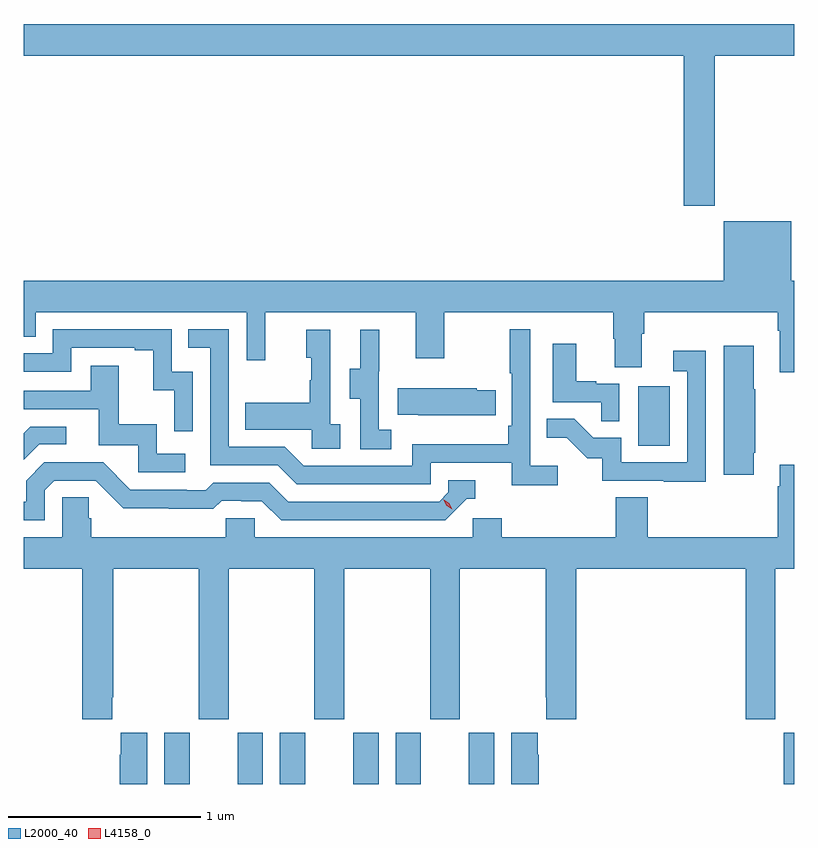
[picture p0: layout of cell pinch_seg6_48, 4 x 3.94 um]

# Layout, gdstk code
import gdstk
lib = gdstk.Library(unit=1e-6, precision=1e-09)
def R(c, l, rs):  # rectangles x0, y0, x1, y1
    for r in rs: c.add(gdstk.rectangle(r[:2], r[2:], *l))
def P(c, l, *ps):  # polygons
    for p in ps: c.add(gdstk.Polygon(p, *l))
L2000_40 = (2000, 40)
L4158_0 = (4158, 0)

pinch_seg6_48 = lib.new_cell('pinch_seg6_48')
R(pinch_seg6_48, L2000_40, [(987.854,942.224,987.985,942.49), (988.235,942.224,988.366,942.49), (988.454,942.224,988.585,942.49), (988.835,942.224,988.966,942.49), (989.054,942.224,989.185,942.49), (989.435,942.224,989.566,942.49), (991.07,942.224,991.124,942.489), (990.314,943.98,990.478,944.287)])
P(pinch_seg6_48, L2000_40, [(990.711,946.004),(991.124,946.004),(991.124,946.168),(987.124,946.168),(987.124,946.004),(990.551,946.004),(990.551,945.225),(990.711,945.225)],
  [(991.124,944.836),(991.108,944.836),(991.108,945.145),(990.758,945.145),(990.758,944.836),(987.124,944.836),(987.124,944.545),(987.186,944.545),(987.186,944.672),(988.281,944.672),(988.281,944.424),(988.379,944.424),(988.379,944.672),(989.159,944.672),(989.159,944.433),(989.307,944.433),(989.307,944.672),(990.184,944.672),(990.184,944.535),(990.191,944.535),(990.191,944.386),(990.331,944.386),(990.331,944.56),(990.344,944.56),(990.344,944.672),(991.037,944.672),(991.037,944.576),(991.049,944.576),(991.049,944.361),(991.124,944.361)],
  [(989.896,943.876),(989.754,943.876),(989.754,944.584),(989.646,944.584),(989.646,944.356),(989.658,944.356),(989.658,944.083),(989.638,944.083),(989.638,943.987),(989.142,943.987),(989.142,943.875),(988.578,943.875),(988.479,943.974),(988.188,943.974),(988.188,944.583),(987.979,944.583),(987.979,944.487),(988.092,944.487),(988.092,943.878),(988.442,943.878),(988.541,943.779),(989.238,943.779),(989.238,943.89),(989.657,943.89),(989.657,943.774),(989.896,943.774)],
  [(988.002,944.364),(987.894,944.364),(987.894,944.583),(987.276,944.583),(987.276,944.46),(987.124,944.46),(987.124,944.364),(987.372,944.364),(987.372,944.487),(987.701,944.487),(987.701,944.475),(987.797,944.475),(987.797,944.267),(987.906,944.267),(987.906,944.055),(988.002,944.055)],
  [(989.032,944.063),(988.968,944.063),(988.968,944.367),(988.97,944.367),(988.97,944.581),(988.871,944.581),(988.871,944.379),(988.817,944.379),(988.817,944.224),(988.872,944.224),(988.872,943.96),(989.032,943.96)],
  [(988.768,944.09),(988.716,944.09),(988.716,944.581),(988.592,944.581),(988.592,944.436),(988.618,944.436),(988.618,944.318),(988.608,944.318),(988.608,944.203),(988.273,944.203),(988.273,944.063),(988.62,944.063),(988.62,943.965),(988.768,943.965)],
  [(990.216,944.301),(990.095,944.301),(990.095,944.314),(989.992,944.314),(989.992,944.509),(989.87,944.509),(989.87,944.205),(990.121,944.205),(990.121,944.107),(990.216,944.107)],
  [(990.913,943.942),(990.921,943.942),(990.921,944.273),(990.913,944.273),(990.913,944.497),(990.758,944.497),(990.758,943.83),(990.913,943.83)],
  [(990.663,944.473),(990.495,944.473),(990.495,944.367),(990.567,944.367),(990.567,943.893),(990.225,943.893),(990.225,944.022),(990.08,944.022),(989.982,944.12),(989.839,944.12),(989.839,944.021),(989.943,944.021),(990.05,943.914),(990.127,943.914),(990.127,943.797),(990.445,943.797),(990.445,943.792),(990.663,943.792)],
  [(987.964,943.938),(987.816,943.938),(987.816,944.092),(987.617,944.092),(987.617,944.395),(987.473,944.395),(987.473,944.265),(987.124,944.265),(987.124,944.169),(987.515,944.169),(987.515,943.983),(987.72,943.983),(987.72,943.842),(987.964,943.842)],
  [(989.573,944.268),(989.475,944.268),(989.475,944.278),(989.065,944.278),(989.065,944.141),(989.173,944.141),(989.173,944.138),(989.573,944.138)],
  [(987.204,943.986),(987.346,943.986),(987.346,944.079),(987.158,944.079),(987.124,944.045),(987.124,943.906)],
  [(987.234,943.749),(987.282,943.797),(987.498,943.797),(987.64,943.655),(987.876,943.655),(987.876,943.653),(988.109,943.653),(988.151,943.695),(988.254,943.695),(988.254,943.692),(988.361,943.692),(988.46,943.593),(989.313,943.593),(989.424,943.704),(989.467,943.704),(989.467,943.8),(989.328,943.8),(989.328,943.737),(989.28,943.689),(988.497,943.689),(988.398,943.788),(988.109,943.788),(988.07,943.749),(987.971,943.749),(987.971,943.752),(987.678,943.752),(987.537,943.893),(987.231,943.893),(987.137,943.799),(987.137,943.689),(987.124,943.689),(987.124,943.593),(987.234,943.593)],
  [(987.476,943.602),(987.461,943.602),(987.461,943.712),(987.324,943.712),(987.324,943.504),(987.124,943.504),(987.124,943.34),(987.428,943.34),(987.428,942.561),(987.583,942.561),(987.583,942.673),(987.588,942.673),(987.588,943.34),(988.033,943.34),(988.033,942.561),(988.188,942.561),(988.188,943.34),(988.633,943.34),(988.633,942.561),(988.788,942.561),(988.788,943.34),(989.233,943.34),(989.233,942.561),(989.388,942.561),(989.388,943.34),(989.833,943.34),(989.833,942.673),(989.837,942.673),(989.837,942.561),(989.993,942.561),(989.993,943.34),(990.872,943.34),(990.872,942.561),(991.024,942.561),(991.024,943.34),(991.124,943.34),(991.124,943.882),(991.049,943.882),(991.049,943.769),(991.037,943.769),(991.037,943.504),(990.362,943.504),(990.362,943.712),(990.197,943.712),(990.197,943.504),(989.606,943.504),(989.606,943.602),(989.454,943.602),(989.454,943.504),(988.323,943.504),(988.323,943.602),(988.173,943.602),(988.173,943.504),(987.476,943.504)],
  [(989.798,942.377),(989.791,942.377),(989.791,942.49),(989.654,942.49),(989.654,942.224),(989.798,942.224)],
  [(987.766,942.49),(987.629,942.49),(987.629,942.377),(987.623,942.377),(987.623,942.224),(987.766,942.224)])
P(pinch_seg6_48, L4158_0, [(989.349,943.649),(989.319,943.669),(989.303,943.701),(989.303,943.702),(989.303,943.702),(989.334,943.682),(989.349,943.649),(989.349,943.649)])

lib.write_gds('pinch_seg6_48.gds')
